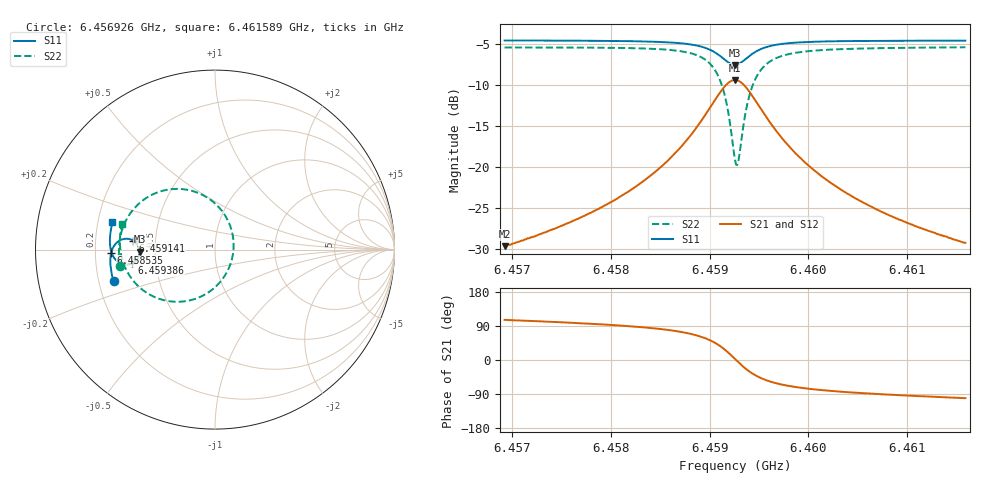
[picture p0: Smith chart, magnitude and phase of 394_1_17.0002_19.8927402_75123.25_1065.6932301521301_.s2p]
#  HZ  S  RI  R  50.00
! Rohde & Schwarz Vector Network Analyzer
! Rohde-Schwarz,ZNB20-2Port,1311601062101988,3.16
! Created: UTC 3/20/2024, 11:09:45 PM
! freq[Hz]  re:S11  im:S11  re:S21  im:S21  re:S12  im:S12  re:S22  im:S22
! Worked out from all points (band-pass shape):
!   401 points, 6.456926 GHz to 6.461589 GHz, reference 50 ohm
!   highest |S21| = -9.36 dB at 6.459258 GHz (marker M1); lowest = -29.6 dB at 6.456926 GHz (marker M2)
!   |S21| within 3 dB of the highest: 6.459025 GHz to 6.459491 GHz (466.5 kHz wide, 0.00722 % of centre)
!   lowest |S11| = -7.5 dB at 6.459258 GHz (marker M3), VSWR 2.45, Z = 20.4 - j0.555 ohm
!   |S11| at or under -10 dB: nowhere
!   |S22| runs from -19.7 to -5.4 dB; largest |S21 - S12| = 0.013
!   S11 on the Smith chart (normalised r, x): 6.456926 GHz: 0.26, -0.14; 6.458535 GHz: 0.27, -0.01; 6.459141 GHz: 0.37, +0.05; 6.459386 GHz: 0.37, -0.07; 6.461589 GHz: 0.26, +0.12
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6.4569262e9  -0.5654 -0.1761  -0.00904 0.0319  -0.00734 0.0318  -0.5291 -0.0891
6.4577072e9  -0.5801 -0.1081  -0.00582 0.0495  -0.00341 0.049  -0.5357 0.000921
6.4581618e9  -0.5833 -0.0628  0.000457 0.0702  0.00365 0.0688  -0.5273 0.0727
6.4584882e9  -0.5798 -0.0239  0.0133 0.0973  0.0173 0.0946  -0.5038 0.1455
6.4585348e9  -0.5785 -0.0175  0.0166 0.1026  0.0207 0.0996  -0.4976 0.1586
6.4587447e9  -0.5666 0.0142  0.0421 0.134  0.0464 0.1294  -0.45 0.2299
6.4588962e9  -0.5456 0.0406  0.0842 0.164  0.0875 0.1576  -0.3729 0.2938
6.4590478e9  -0.5001 0.0603  0.1746 0.1832  0.1756 0.1759  -0.2077 0.3383
6.459141e9  -0.4561 0.0506  0.2633 0.153  0.2635 0.1471  -0.0436 0.2902
6.4591876e9  -0.4353 0.0321  0.3065 0.1111  0.3078 0.1058  0.0385 0.2159
6.4592576e9  -0.4203 -0.0112  0.3399 0.0156  0.3434 0.00898  0.1037 0.0393
6.4592692e9  -0.4208 -0.0191  0.3398 -0.00169  0.3434 -0.00913  0.1036 0.00649
6.4592925e9  -0.4242 -0.0345  0.3346 -0.036  0.3382 -0.0449  0.0931 -0.0582
6.4593392e9  -0.4394 -0.0603  0.3068 -0.0951  0.3089 -0.1068  0.0374 -0.17
6.4593858e9  -0.4612 -0.0762  0.2656 -0.1359  0.2647 -0.1488  -0.0456 -0.2443
6.4594791e9  -0.504 -0.0828  0.1822 -0.1671  0.1761 -0.1783  -0.2115 -0.2907
6.4596306e9  -0.5473 -0.0625  0.0954 -0.1539  0.0871 -0.1599  -0.3767 -0.2432
6.4597938e9  -0.5686 -0.0349  0.051 -0.1266  0.0436 -0.1292  -0.4563 -0.1726
6.4600386e9  -0.5813 0.000607  0.0222 -0.0958  0.0165 -0.0961  -0.504 -0.0912
6.4604e9  -0.5856 0.043  0.00593 -0.0686  0.0021 -0.0681  -0.5258 -0.0107
6.4608196e9  -0.5836 0.0848  -0.00127 -0.0509  -0.00416 -0.0503  -0.5298 0.0551
6.461589e9  -0.5711 0.1528  -0.00648 -0.0341  -0.00807 -0.0332  -0.5185 0.1447
